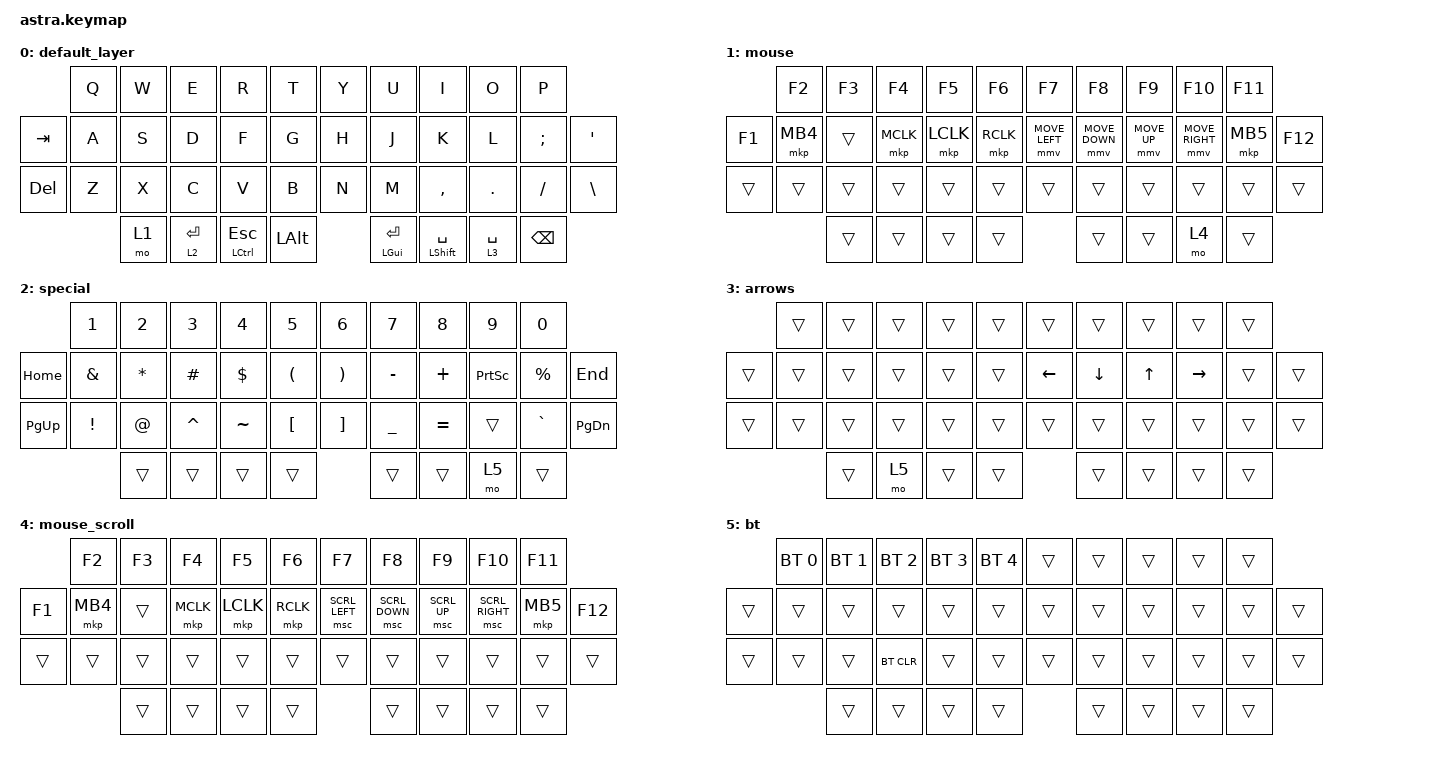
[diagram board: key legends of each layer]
#include <behaviors.dtsi>
#include <dt-bindings/zmk/keys.h>
#include <dt-bindings/zmk/pointing.h>
#include <dt-bindings/zmk/bt.h>

/ {
    keymap {
        compatible = "zmk,keymap";

        default_layer {
            bindings = <
                          &kp Q     &kp W     &kp E     &kp R     &kp T            &kp Y      &kp U      &kp I     &kp O     &kp P
                &kp TAB   &kp A     &kp S     &kp D     &kp F     &kp G            &kp H      &kp J      &kp K     &kp L     &kp SEMI  &kp SQT
                &kp DEL   &kp Z     &kp X     &kp C     &kp V     &kp B            &kp N      &kp M      &kp COMMA &kp DOT   &kp SLASH &kp BSLH
                                    &mo 1 &lt 2 RET &mt LCTRL ESC &kp LALT         &mt LGUI RET &mt LSHFT SPACE &lt 3 SPACE &kp BSPC
            >;
        };
        mouse {
            bindings = <
                          &kp F2    &kp F3    &kp F4    &kp F5    &kp F6            &kp F7    &kp F8     &kp F9    &kp F10   &kp F11
                &kp F1    &mkp MB4  &trans    &mkp MCLK &mkp LCLK &mkp RCLK         &mmv MOVE_LEFT &mmv MOVE_DOWN  &mmv MOVE_UP &mmv MOVE_RIGHT &mkp MB5 &kp F12
                &trans    &trans    &trans    &trans    &trans    &trans            &trans    &trans     &trans    &trans    &trans    &trans
                                    &trans    &trans    &trans    &trans            &trans    &trans     &mo 4     &trans
            >;
        };
        special {
            bindings = <
                          &kp N1    &kp N2    &kp N3    &kp N4    &kp N5            &kp N6    &kp N7     &kp N8    &kp N9    &kp N0
                &kp HOME  &kp AMPS  &kp ASTRK &kp POUND &kp DLLR  &kp LPAR          &kp RPAR  &kp MINUS  &kp PLUS  &kp PSCRN &kp PRCNT &kp END
                &kp PG_UP &kp EXCL  &kp AT    &kp CARET &kp TILDE &kp LBKT          &kp RBKT  &kp UNDER  &kp EQUAL &trans    &kp GRAVE &kp PG_DN
                                    &trans    &trans    &trans    &trans            &trans    &trans     &mo 5     &trans
            >;
        };
        arrows {
            bindings = <
                          &trans    &trans    &trans    &trans    &trans            &trans    &trans     &trans    &trans    &trans
                &trans    &trans    &trans    &trans    &trans    &trans            &kp LEFT  &kp DOWN   &kp UP    &kp RIGHT &trans    &trans
                &trans    &trans    &trans    &trans    &trans    &trans            &trans    &trans     &trans    &trans    &trans    &trans
                                    &trans    &mo 5     &trans    &trans            &trans    &trans     &trans    &trans
            >;
        };
        mouse_scroll {
            bindings = <
                          &kp F2    &kp F3    &kp F4    &kp F5    &kp F6            &kp F7    &kp F8     &kp F9    &kp F10   &kp F11
                &kp F1    &mkp MB4  &trans    &mkp MCLK &mkp LCLK &mkp RCLK         &msc SCRL_LEFT &msc SCRL_DOWN  &msc SCRL_UP &msc SCRL_RIGHT &mkp MB5 &kp F12
                &trans    &trans    &trans    &trans    &trans    &trans            &trans    &trans     &trans    &trans    &trans    &trans
                                    &trans    &trans    &trans    &trans            &trans    &trans     &trans    &trans
            >;
        };
        bt {
            bindings = <
                          &bt BT_SEL 0 &bt BT_SEL 1 &bt BT_SEL 2 &bt BT_SEL 3 &bt BT_SEL 4            &trans    &trans     &trans    &trans    &trans
                &trans    &trans    &trans    &trans    &trans    &trans            &trans    &trans     &trans    &trans    &trans    &trans
                &trans    &trans    &trans    &bt BT_CLR &trans    &trans            &trans    &trans     &trans    &trans    &trans    &trans
                                    &trans    &trans    &trans    &trans            &trans    &trans     &trans    &trans
            >;
        };
    };
};
